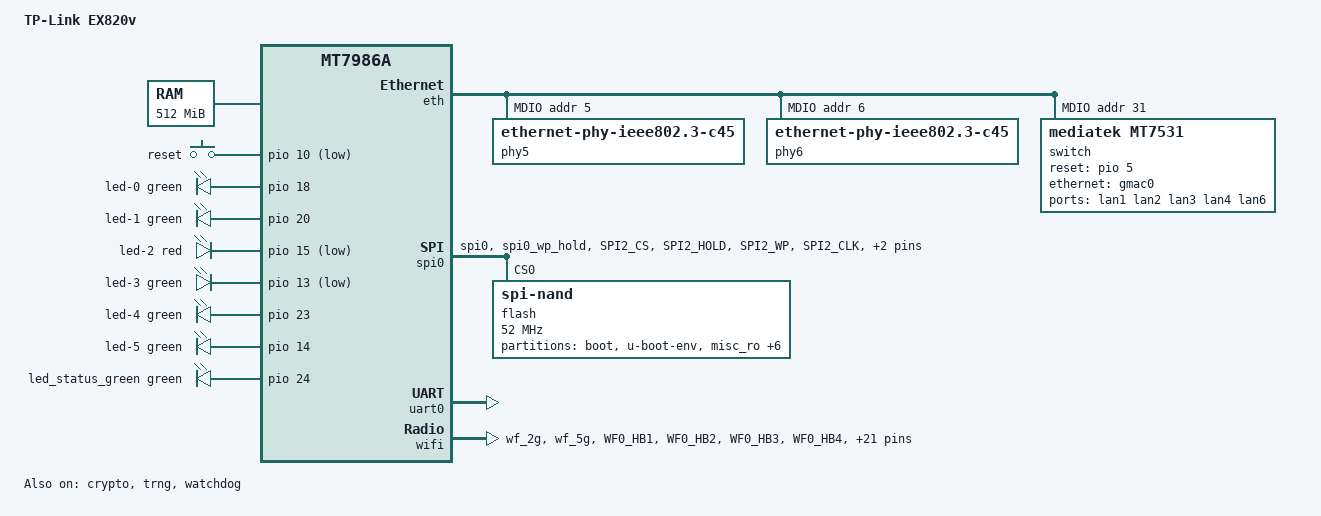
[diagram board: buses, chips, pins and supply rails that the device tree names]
// SPDX-License-Identifier: (GPL-2.0-only OR MIT)

/dts-v1/;
#include <dt-bindings/input/input.h>
#include <dt-bindings/gpio/gpio.h>
#include <dt-bindings/leds/common.h>

#include "mt7986a.dtsi"

/ {
	compatible = "tplink,ex820v", "mediatek,mt7986a";
	model = "TP-Link EX820v";

	aliases {
		serial0 = &uart0;
		led-boot = &led_status_green;
		led-failsafe = &led_status_green;
		led-running = &led_status_green;
		led-upgrade = &led_status_green;
	};

	chosen {
		stdout-path = "serial0:115200n8";
	};

	memory@40000000 {
		reg = <0 0x40000000 0 0x20000000>;
	};

	keys {
		compatible = "gpio-keys";

		reset {
			label = "reset";
			gpios = <&pio 10 GPIO_ACTIVE_LOW>;
			linux,code = <KEY_RESTART>;
		};
	};

	leds {
		compatible = "gpio-leds";

		led-0 {
			color = <LED_COLOR_ID_GREEN>;
			function = LED_FUNCTION_LAN;
			function-enumerator = <2>;
			gpios = <&pio 18 GPIO_ACTIVE_HIGH>;
		};

		led-1 {
			color = <LED_COLOR_ID_GREEN>;
			function = LED_FUNCTION_LAN;
			function-enumerator = <1>;
			gpios = <&pio 20 GPIO_ACTIVE_HIGH>;
		};

		led-2 {
			color = <LED_COLOR_ID_RED>;
			function = LED_FUNCTION_LAN;
			function-enumerator = <0>;
			gpios = <&pio 15 GPIO_ACTIVE_LOW>;
		};

		led-3 {
			color = <LED_COLOR_ID_GREEN>;
			function = LED_FUNCTION_WAN;
			gpios = <&pio 13 GPIO_ACTIVE_LOW>;
		};

		led-4 {
			color = <LED_COLOR_ID_GREEN>;
			function = LED_FUNCTION_LAN;
			gpios = <&pio 23 GPIO_ACTIVE_HIGH>;
		};

		led-5 {
			color = <LED_COLOR_ID_GREEN>;
			function = LED_FUNCTION_STATUS;
			gpios = <&pio 14 GPIO_ACTIVE_HIGH>;
		};

		led_status_green: led-6 {
			color = <LED_COLOR_ID_GREEN>;
			function = LED_FUNCTION_STATUS;
			gpios = <&pio 24 GPIO_ACTIVE_HIGH>;
			panic-indicator;
		};
	};
};

&crypto {
	status = "okay";
};

&eth {
	status = "okay";

	gmac0: mac@0 {
		compatible = "mediatek,eth-mac";
		reg = <0>;
		phy-mode = "2500base-x";

		fixed-link {
			speed = <2500>;
			full-duplex;
			pause;
		};
	};

	gmac1: mac@1 {
		compatible = "mediatek,eth-mac";
		reg = <1>;
		phy-mode = "2500base-x";
		phy-handle = <&phy6>;
	};

	mdio: mdio-bus {
		#address-cells = <1>;
		#size-cells = <0>;

		reset-gpios = <&pio 6 1>; 
		reset-delay-us = <1500000>;
		reset-post-delay-us = <1000000>;

		phy5: ethernet-phy@5 {
			compatible = "ethernet-phy-ieee802.3-c45";
			reg = <5>;
		};

		phy6: ethernet-phy@6 {
			compatible = "ethernet-phy-ieee802.3-c45";
			reg = <6>;
		};

		switch: switch@1f {
			compatible = "mediatek,mt7531";
			reg = <31>;
			reset-gpios = <&pio 5 0>; 

			ports {
				#address-cells = <1>;
				#size-cells = <0>;

				port@0 {
					reg = <0>;
					label = "lan1";
				};

				port@1 {
					reg = <1>;
					label = "lan2";
				};

				port@2 {
					reg = <2>;
					label = "lan3";
				};

				port@3 {
					reg = <3>;
					label = "lan4";
				};

				port@5 {
					reg = <5>;
					label = "lan6";
					phy-mode = "2500base-x";
					phy-handle = <&phy5>;
				};

				port@6 {
					reg = <6>;
					ethernet = <&gmac0>;
					phy-mode = "2500base-x";

					fixed-link {
						speed = <2500>;
						full-duplex;
						pause;
					};
				};
			};
		};
	};
};

&pio {
	spi_flash_pins: spi-flash-pins-33-to-38 {
		mux {
			function = "spi";
			groups = "spi0", "spi0_wp_hold";
		};
		conf-pu {
			pins = "SPI2_CS", "SPI2_HOLD", "SPI2_WP";
			drive-strength = <8>;
			mediatek,pull-up-adv = <0>; /* bias-disable */
		};
		conf-pd {
			pins = "SPI2_CLK", "SPI2_MOSI", "SPI2_MISO";
			drive-strength = <8>;
			mediatek,pull-down-adv = <0>; /* bias-disable */
		};
	};

	wf_2g_5g_pins: wf_2g_5g-pins {
		mux {
			function = "wifi";
			groups = "wf_2g", "wf_5g";
		};
		conf {
			pins = "WF0_HB1", "WF0_HB2", "WF0_HB3", "WF0_HB4",
			       "WF0_HB0", "WF0_HB0_B", "WF0_HB5", "WF0_HB6",
			       "WF0_HB7", "WF0_HB8", "WF0_HB9", "WF0_HB10",
			       "WF0_TOP_CLK", "WF0_TOP_DATA", "WF1_HB1",
			       "WF1_HB2", "WF1_HB3", "WF1_HB4", "WF1_HB0",
			       "WF1_HB5", "WF1_HB6", "WF1_HB7", "WF1_HB8",
			       "WF1_TOP_CLK", "WF1_TOP_DATA";
			drive-strength = <4>;
		};
	};
};

&spi0 {
	pinctrl-names = "default";
	pinctrl-0 = <&spi_flash_pins>;
	status = "okay";

	flash@0 {
		compatible = "spi-nand";
		#address-cells = <1>;
		#size-cells = <1>;
		reg = <0>;

		spi-max-frequency = <52000000>;
		spi-tx-bus-width = <4>;
		spi-rx-bus-width = <4>;

		partitions {
			compatible = "fixed-partitions";
			#address-cells = <1>;
			#size-cells = <1>;

			partition@0 {
				label = "boot";
				reg = <0x0 0x200000>;
				read-only;
			};

			partition@200000 {
				label = "u-boot-env";
				reg = <0x200000 0x100000>;
			};

			partition@300000 {
				label = "misc_ro";
				reg = <0x300000 0x600000>;
				
				compatible = "nvmem-cells";
				#address-cells = <1>;
				#size-cells = <1>;

				eeprom_mac: eeprom@0 {
					reg = <0x0 0x1000>;
				};
			};

			partition@900000 {
				label = "misc_rw";
				reg = <0x900000 0x600000>;
			};

			partition@f00000 {
				label = "ubi0";
				reg = <0xf00000 0x2800000>;
			};

			partition@3700000 {
				label = "ubi1";
				reg = <0x3700000 0x2800000>;
			};

			partition@5f00000 {
				label = "misc_rw_bak";
				reg = <0x5f00000 0x600000>;
			};

			partition@6500000 {
				label = "bflag";
				reg = <0x6500000 0x600000>;
			};

			partition@6b00000 {
				label = "misc_isp";
				reg = <0x6b00000 0x600000>;
			};

		};
	};
};

&trng {
	status = "okay";
};

&uart0 {
	status = "okay";
};

&watchdog {
	status = "okay";
};

&wifi {
	status = "okay";
	pinctrl-names = "default";
	pinctrl-0 = <&wf_2g_5g_pins>;
	
	nvmem-cells = <&eeprom_mac>;
	nvmem-cell-names = "eeprom";
};
